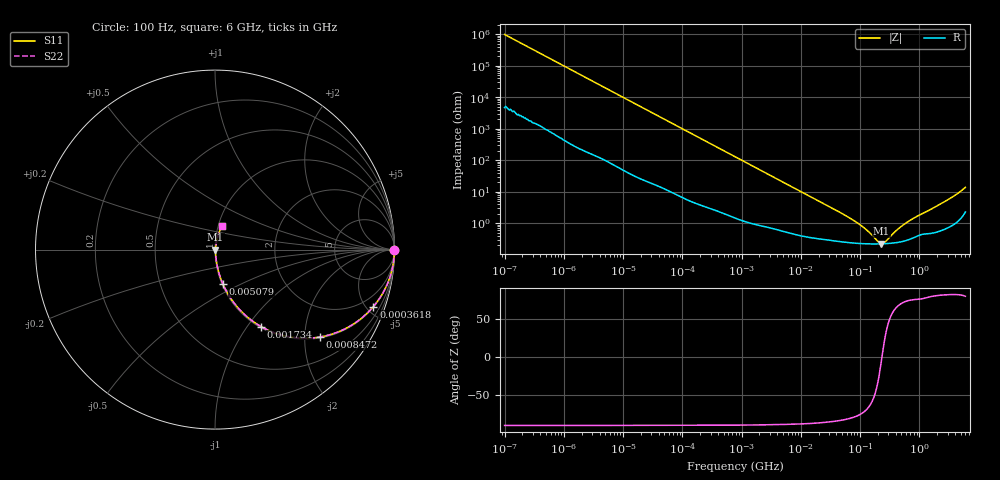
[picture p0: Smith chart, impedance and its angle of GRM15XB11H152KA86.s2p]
!Murata Part Number: GRM15XB11H152KA86
!These Parameters are Measured in Series Mode Connection
!Data Generated on Mar 30, 2021
!  o--ll--o
!Port1  Port2
!  o------o
!Operation Temp=25[degC], DC Bias Voltage=0[V]
!Freq. Start=100[Hz] Stop=6[GHz] 401[Steps]
# Hz S RI R 50
!Freq.(Hz) S11(Real) S11(Imag) S21(Real) S21(Imag) S12(Real) S12(Imag) S22(Real) S22(Imag)
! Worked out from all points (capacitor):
!   401 points, 100 Hz to 6 GHz, reference 50 ohm
!   read as one part in series: C = 1.63 nF near 109 Hz
!   lowest |Z| = 225 mohm at 228.4 MHz (marker M1)
!   series resonance near 233.8 MHz, so ESL is about 280 pH
!   S11 on the Smith chart (normalised r, x): 100 Hz: open; 361.8 kHz: 1.05, -5.55; 847.2 kHz: 1.03, -2.38; 1.734 MHz: 1.02, -1.17; 5.079 MHz: 1.01, -0.40; 6 GHz: 1.05, +0.27
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100  1 -0.000102  5e-07 0.000102  5e-07 0.000102  1 -0.000102
2008  1 -0.00204  1.31e-05 0.00204  1.31e-05 0.00204  1 -0.00204
40335  0.9981 -0.0405  0.00188 0.0405  0.00188 0.0405  0.9981 -0.0405
135116  0.9812 -0.1326  0.0188 0.1326  0.0188 0.1326  0.9812 -0.1326
361830  0.8826 -0.3172  0.1174 0.3172  0.1174 0.3172  0.8826 -0.3172
774597  0.6273 -0.4779  0.3727 0.4779  0.3727 0.4779  0.6273 -0.4779
847162  0.5852 -0.4869  0.4148 0.4869  0.4148 0.4869  0.5852 -0.4869
1212075  0.411 -0.4855  0.589 0.4855  0.589 0.4855  0.411 -0.4855
1734173  0.2574 -0.4294  0.7426 0.4294  0.7426 0.4294  0.2574 -0.4294
2837864  0.1186 -0.3132  0.8814 0.3132  0.8814 0.3132  0.1186 -0.3132
5079039  0.0438 -0.1914  0.9562 0.1914  0.9562 0.1914  0.0438 -0.1914
1.555665e7  0.00778 -0.0656  0.9922 0.0656  0.9922 0.0656  0.00778 -0.0656
8.527865e7  0.00245 -0.0108  0.9976 0.0108  0.9976 0.0108  0.00245 -0.0108
1.220122e8  0.00229 -0.00635  0.9977 0.00635  0.9977 0.00635  0.00229 -0.00635
1.996653e8  0.00223 -0.00145  0.9978 0.00145  0.9978 0.00145  0.00223 -0.00145
2.283698e8  0.00224 -0.000214  0.9978 0.000214  0.9978 0.000214  0.00224 -0.000214
2.61201e8  0.00226 0.00102  0.9977 -0.00102  0.9977 -0.00102  0.00226 0.00102
3.124326e8  0.00232 0.00269  0.9977 -0.00269  0.9977 -0.00269  0.00232 0.00269
4.274388e8  0.0025 0.00585  0.9975 -0.00585  0.9975 -0.00585  0.0025 0.00585
6.395615e8  0.00307 0.0107  0.9969 -0.0107  0.9969 -0.0107  0.00307 0.0107
2.931063e9  0.00975 0.0526  0.9903 -0.0526  0.9903 -0.0526  0.00975 0.0526
6e9  0.0397 0.1288  0.9603 -0.1288  0.9603 -0.1288  0.0397 0.1288
